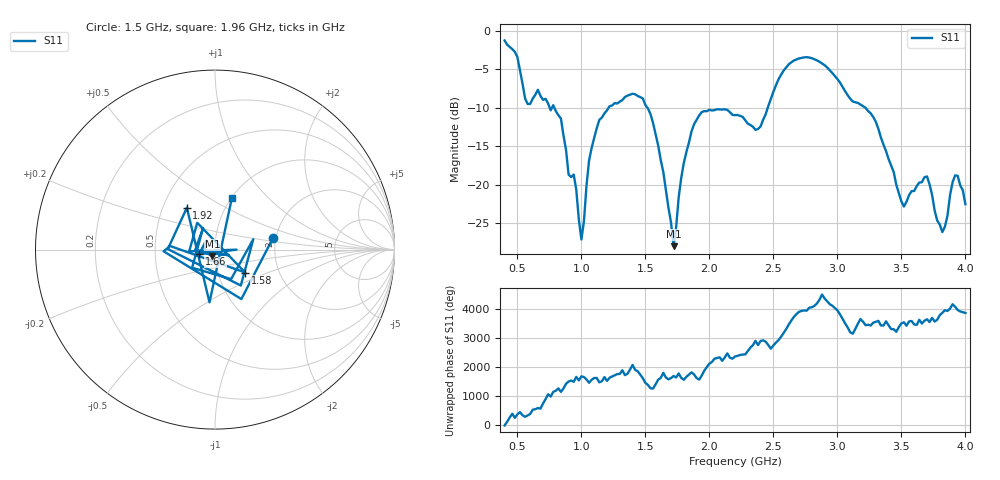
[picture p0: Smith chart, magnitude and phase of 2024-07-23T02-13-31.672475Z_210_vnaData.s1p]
!Created with skrf (http://scikit-rf.org).
# Hz S RI R 50.0
!freq ReS11 ImS11
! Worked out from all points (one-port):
!   181 points, 400 MHz to 4 GHz, reference 50 ohm
!   lowest |S11| = -28.0 dB at 1.72 GHz (marker M1), VSWR 1.08, Z = 48.4 - j3.58 ohm
!   |S11| at or under -10 dB: 788.2 MHz to 1.213 GHz (425.1 MHz wide, 42.5 % of centre); 1.515 GHz to 2.456 GHz (941.2 MHz wide, 47.4 % of centre); 3.218 GHz to end of sweep (the widest 3 of 4)
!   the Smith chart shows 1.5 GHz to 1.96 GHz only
!   S11 on the Smith chart (normalised r, x): 1.5 GHz: 1.93, +0.27; 1.58 GHz: 1.35, -0.36; 1.66 GHz: 0.84, -0.04; 1.92 GHz: 0.66, +0.34; 1.96 GHz: 1.01, +0.63
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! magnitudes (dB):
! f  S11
! 400 MHz  -1.3
! 580 MHz  -9.5
! 660 MHz  -7.7
! 860 MHz  -13.6
! 900 MHz  -18.7
! 940 MHz  -18.7
! 1 GHz  -27.1
! 1.06 GHz  -16.9
! 1.12 GHz  -12.7
! 1.3 GHz  -9.2
! 1.5 GHz  -9.7
! 1.58 GHz  -13.5
! 1.66 GHz  -20.7
! 1.72 GHz  -28.0
! 1.76 GHz  -21.7
! 1.92 GHz  -11.0
! 1.96 GHz  -10.5
! 2.2 GHz  -11.0
! 2.38 GHz  -12.8
! 2.66 GHz  -3.9
! 3.1 GHz  -8.8
! 3.3 GHz  -11.8
! 3.52 GHz  -22.8
! 3.56 GHz  -21.4
! 3.7 GHz  -18.9
! 3.82 GHz  -26.2
! 3.92 GHz  -18.8
! 4 GHz  -22.5
